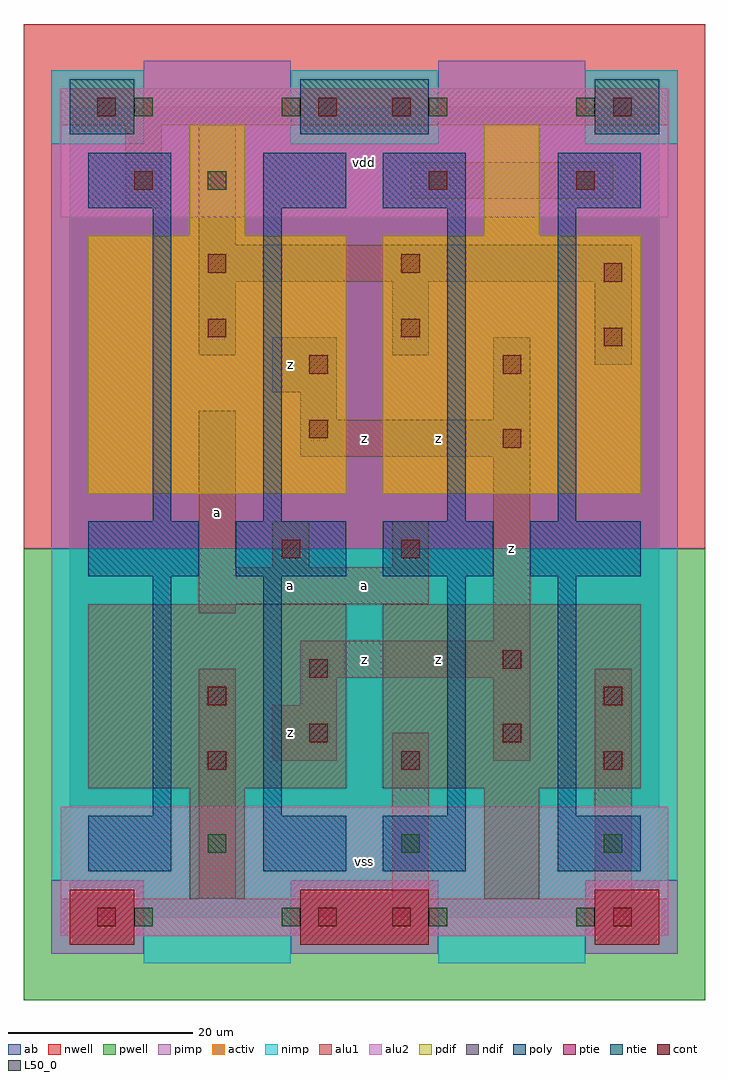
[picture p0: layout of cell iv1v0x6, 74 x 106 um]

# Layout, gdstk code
import gdstk
lib = gdstk.Library(unit=1e-6, precision=1e-09)
def R(c, l, rs):  # rectangles x0, y0, x1, y1
    for r in rs: c.add(gdstk.rectangle(r[:2], r[2:], *l))
def A(c, l, x, y, w, h, nx, ny, dx, dy):  # array of equal rectangles
    R(c, l, [(x+i*dx, y+j*dy, x+i*dx+w, y+j*dy+h) for i in range(nx) for j in range(ny)])
ndif = (3, 0)
pdif = (4, 0)
ntie = (5, 0)
ptie = (6, 0)
cont = (25, 0)
pwell = (41, 0)
nwell = (42, 0)
activ = (43, 0)
pimp = (44, 0)
nimp = (45, 0)
poly = (46, 0)
alu1 = (49, 0)
L50_0 = (50, 0)
alu2 = (51, 0)
ab = (63, 0)

iv1v0x6 = lib.new_cell('iv1v0x6')
R(iv1v0x6, ndif, [(13,2,19,14), (45,2,51,14), (2,14,30,34), (34,14,62,34)])
R(iv1v0x6, pdif, [(2,46,30,74), (34,46,62,74), (13,74,19,86), (45,74,51,86)])
R(iv1v0x6, ntie, [(0,85,7,91), (25,85,39,91), (57,85,64,91)])
R(iv1v0x6, ptie, [(0,-3,7,3), (25,-3,39,3), (57,-3,64,3)])
R(iv1v0x6, cont, [(3,-1,5,1), (27,-1,29,1), (35,-1,37,1), (59,-1,61,1), (15,16,17,18), (36,16,38,18), (58,16,60,18), (26,19,28,21), (47,19,49,21), (15,23,17,25), (58,23,60,25), (26,26,28,28), (47,27,49,29), (23,39,25,41), (36,39,38,41), (47,51,49,53), (26,52,28,54), (26,59,28,61), (47,59,49,61), (58,62,60,64), (15,63,17,65), (36,63,38,65), (58,69,60,71), (15,70,17,72), (36,70,38,72), (7,79,9,81), (39,79,41,81), (55,79,57,81), (3,87,5,89), (27,87,29,89), (35,87,37,89), (59,87,61,89)])
R(iv1v0x6, pwell, [(-5,-9,69,40)])
R(iv1v0x6, nwell, [(-5,40,69,97)])
R(iv1v0x6, activ, [(0,-3,7,3), (25,-3,39,3), (57,-3,64,3), (13,2,19,14), (45,2,51,14), (2,14,30,34), (34,14,62,34), (2,46,30,74), (34,46,62,74), (13,74,19,86), (45,74,51,86), (0,85,7,91), (25,85,39,91), (57,85,64,91)])
R(iv1v0x6, pimp, [(-2,-4,8,4), (24,-4,40,4), (56,-4,66,4), (-2,40,66,84), (8,84,24,93), (40,84,56,93)])
R(iv1v0x6, nimp, [(8,-5,24,4), (40,-5,56,4), (-2,4,66,40), (-2,84,8,92), (24,84,40,92), (56,84,66,92)])
A(iv1v0x6, poly, 2, 37, 12, 6, 4, 1, 16, 0)
R(iv1v0x6, poly, [(2,5,11,11), (21,5,30,11), (34,5,43,11), (53,5,62,11), (9,11,11,37), (21,11,23,37), (41,11,43,37), (53,11,55,37), (9,43,11,77), (21,43,23,77), (41,43,43,77), (53,43,55,77), (2,77,11,83), (21,77,30,83), (34,77,43,83), (53,77,62,83)])
R(iv1v0x6, alu1, [(-1,-2,65,2), (14,2,18,27), (35,2,39,20), (57,2,61,27), (22,17,29,23), (46,17,50,26), (25,23,29,26), (25,26,50,30), (46,30,50,50), (14,33,18,34), (14,34,39,38), (14,38,18,55), (22,38,26,43), (35,38,39,43), (25,50,50,54), (25,54,29,57), (46,54,50,63), (22,57,29,63), (57,60,61,69), (14,61,18,69), (35,61,39,69), (14,69,61,73), (14,73,18,86), (6,77,10,86), (37,78,59,82), (-1,86,65,90)])
A(iv1v0x6, L50_0, 7, -1, 2, 2, 4, 2, 16, 88)
R(iv1v0x6, L50_0, [(15,7,17,9), (36,7,38,9), (58,7,60,9), (15,79,17,81)])
R(iv1v0x6, alu2, [(-1,-2,65,12), (-1,76,65,90)])
R(iv1v0x6, ab, [(0,0,64,88)])
iv1v0x6.add(gdstk.Label('z', (24,20), layer=49, texttype=0))
iv1v0x6.add(gdstk.Label('a', (24,36), layer=49, texttype=0))
iv1v0x6.add(gdstk.Label('a', (16,44), layer=49, texttype=0))
iv1v0x6.add(gdstk.Label('z', (24,60), layer=49, texttype=0))
iv1v0x6.add(gdstk.Label('z', (32,28), layer=49, texttype=0))
iv1v0x6.add(gdstk.Label('a', (32,36), layer=49, texttype=0))
iv1v0x6.add(gdstk.Label('z', (40,28), layer=49, texttype=0))
iv1v0x6.add(gdstk.Label('z', (32,52), layer=49, texttype=0))
iv1v0x6.add(gdstk.Label('z', (40,52), layer=49, texttype=0))
iv1v0x6.add(gdstk.Label('z', (48,40), layer=49, texttype=0))
iv1v0x6.add(gdstk.Label('vss', (32,6), layer=51, texttype=0))
iv1v0x6.add(gdstk.Label('vdd', (32,82), layer=51, texttype=0))

lib.write_gds('iv1v0x6.gds')
